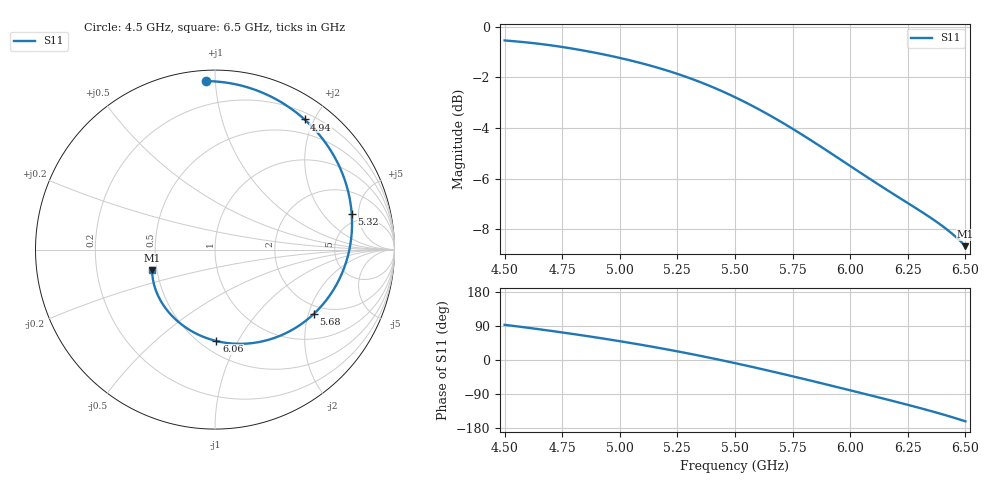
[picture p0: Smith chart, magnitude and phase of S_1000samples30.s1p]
! TOUCHSTONE file generated by CST MICROWAVE STUDIO
! Date and time: Wed Oct 26 18:13:55 2022
! Project name: L.cst
! Parameters = {Di=1.27; Epsilon_r=1.56; InnerDiameter=1.27; Length=2; Lf=10; Lg=60; OuterConductorThickness=0.2921; OuterDiameter=3.6; Wf=3; Wp=41.2; de=1.5; df=6.8; g=0.8; gx=4.06569; gy=3.84535; h=2.34; hf=1.524; px=13.3386; py=13.2167; w=9.7; wx=9.27289; wy=9.37134}
! Header version: 2018
! Port assignment regex: !\s*Touchstone port\s*([0-9]+)\s*=\s*(CST MWS port|CST DS port)\s*([0-9]+|Zmin|Zmax)\s*\(\"(.*)\"\)(\s*mode\s*([0-9]+))?.*
! Touchstone port assignment:
! Touchstone port 1 = CST MWS port 1 ("")
# GHz S DB R 50
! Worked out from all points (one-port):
!   101 points, 4.5 GHz to 6.5 GHz, reference 50 ohm
!   lowest |S11| = -8.7 dB at 6.5 GHz (marker M1), VSWR 2.17, Z = 23.5 - j6.26 ohm
!   |S11| at or under -10 dB: nowhere
!   S11 on the Smith chart (normalised r, x): 4.5 GHz: 0.06, +0.95; 4.94 GHz: 0.29, +1.87; 5.32 GHz: 3.98, +4.12; 5.68 GHz: 1.73, -2.17; 6.06 GHz: 0.60, -0.82; 6.5 GHz: 0.47, -0.13
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4.5  -0.54 92.9
4.58  -0.60 86.8
4.64  -0.66 81.9
4.76  -0.81 71.8
4.86  -0.96 62.9
4.94  -1.11 55.4
5  -1.23 49.6
5.08  -1.40 41.5
5.14  -1.55 35.1
5.2  -1.71 28.5
5.26  -1.89 21.6
5.32  -2.08 14.5
5.42  -2.45 2.1
5.5  -2.78 -8.2
5.58  -3.14 -19.0
5.68  -3.65 -33.0
5.76  -4.08 -44.4
5.82  -4.42 -53.2
5.88  -4.78 -62.1
5.94  -5.13 -71.0
6  -5.50 -80.0
6.06  -5.86 -89.1
6.16  -6.44 -104.3
6.26  -7.02 -119.9
6.32  -7.37 -129.6
6.38  -7.73 -139.7
6.44  -8.15 -150.4
6.5  -8.66 -161.8
